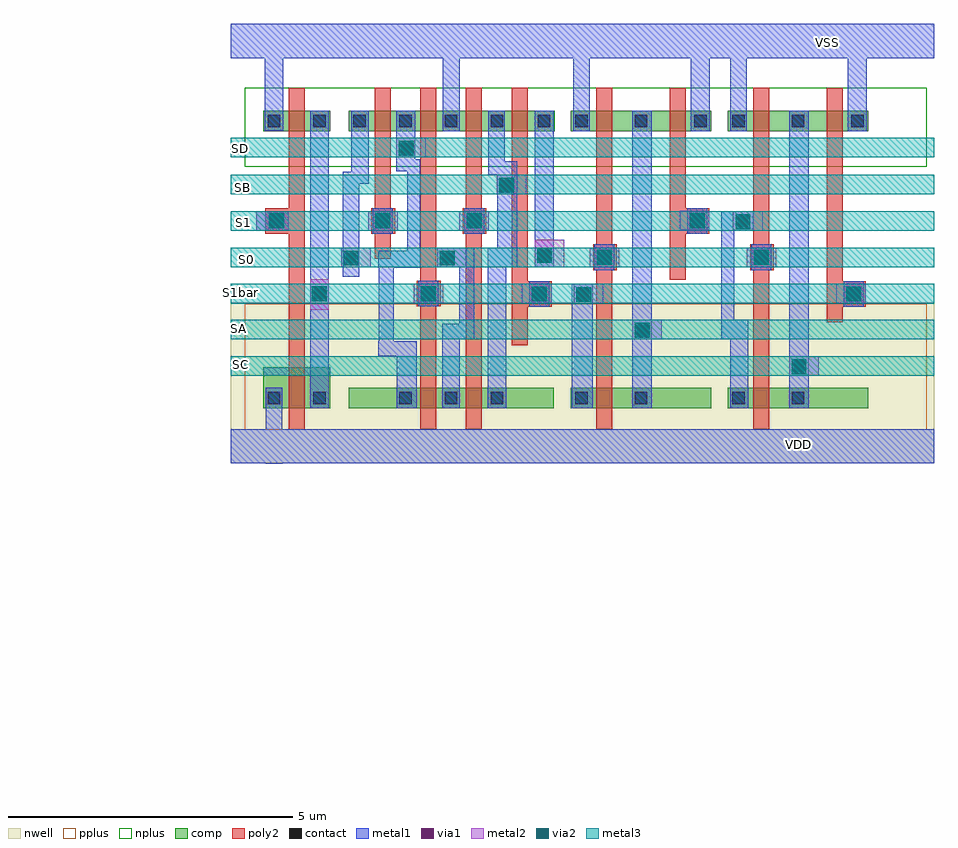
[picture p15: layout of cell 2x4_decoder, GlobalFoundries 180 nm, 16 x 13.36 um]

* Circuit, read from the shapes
.subckt 2x4_decoder S0 S1 S1bar SA SB SC SD VDD VSS
XM1 S1bar S1 VSS VSUBS nfet_03v3 w=0.36u l=0.28u
XM2 SD S1 S0 VSUBS nfet_03v3 w=0.36u l=0.28u
XM3 VSS S1bar SD VSUBS nfet_03v3 w=0.36u l=0.28u
XM4 SB S1 VSS VSUBS nfet_03v3 w=0.36u l=0.28u
XM5 S0 S1bar SB VSUBS nfet_03v3 w=0.36u l=0.28u
XM6 SA S0 VSS VSUBS nfet_03v3 w=0.36u l=0.28u
XM7 VSS S1 SA VSUBS nfet_03v3 w=0.36u l=0.28u
XM8 SC S0 VSS VSUBS nfet_03v3 w=0.36u l=0.28u
XM9 VSS S1bar SC VSUBS nfet_03v3 w=0.36u l=0.28u
XM10 S1bar S1 VDD n1 pfet_03v3 w=0.72u l=0.28u
XM11 S0 S1bar SD n1 pfet_03v3 w=0.36u l=0.28u
XM12 SB S1 S0 n1 pfet_03v3 w=0.36u l=0.28u
XM13 SA S0 S1bar n1 pfet_03v3 w=0.36u l=0.28u
XM14 SC S0 S1 n1 pfet_03v3 w=0.36u l=0.28u
.ends

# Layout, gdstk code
import gdstk
lib = gdstk.Library(unit=1e-6, precision=5e-09)
def R(c, l, rs):  # rectangles x0, y0, x1, y1
    for r in rs: c.add(gdstk.rectangle(r[:2], r[2:], *l))
def A(c, l, x, y, w, h, nx, ny, dx, dy):  # array of equal rectangles
    R(c, l, [(x+i*dx, y+j*dy, x+i*dx+w, y+j*dy+h) for i in range(nx) for j in range(ny)])
def P(c, l, *ps):  # polygons
    for p in ps: c.add(gdstk.Polygon(p, *l))
nwell = (21, 0)
comp = (22, 0)
poly2 = (30, 0)
pplus = (31, 0)
nplus = (32, 0)
contact = (33, 0)
metal1 = (34, 0)
via1 = (35, 0)
metal2 = (36, 0)
via2 = (38, 0)
metal3 = (42, 0)

c_2x4_decoder = lib.new_cell('2x4_decoder')
R(c_2x4_decoder, nwell, [(-5.64,0.975,6.72,3.805)])
R(c_2x4_decoder, comp, [(-5.075,1.945,-3.895,2.665), (-3.57,1.945,0.03,2.305), (0.335,1.945,2.805,2.305), (3.095,1.945,5.565,2.305), (-5.075,6.815,-3.895,7.175), (-3.57,6.815,0.055,7.175), (0.335,6.815,2.805,7.175), (3.095,6.815,5.565,7.175)])
R(c_2x4_decoder, poly2, [(-4.625,1.565,-4.345,7.57), (-2.31,1.575,-2.03,7.575), (-1.51,1.575,-1.23,7.575), (0.785,1.575,1.065,7.575), (3.545,1.575,3.825,7.575), (-0.7,3.055,-0.42,7.575), (4.835,3.455,5.115,7.57), (-0.42,3.73,-0.005,4.18), (5.105,3.73,5.52,4.18), (-2.37,3.735,-1.955,4.185), (2.075,4.205,2.355,7.57), (0.725,4.375,1.14,4.825), (3.485,4.375,3.9,4.825), (-3.11,4.575,-2.83,7.575), (-5.04,5.015,-4.625,5.465), (-3.17,5.015,-2.755,5.465), (-1.565,5.015,-1.15,5.465), (2.355,5.015,2.77,5.465)])
R(c_2x4_decoder, pplus, [(-5.395,1.57,6.59,3.78)])
R(c_2x4_decoder, nplus, [(-5.395,6.195,6.59,7.575)])
A(c_2x4_decoder, contact, 0.415, 6.885, 0.22, 0.22, 3, 1, 1.045, 0)
A(c_2x4_decoder, contact, 3.175, 6.885, 0.22, 0.22, 3, 1, 1.045, 0)
R(c_2x4_decoder, contact, [(-4.995,2.015,-4.775,2.235), (-4.195,2.015,-3.975,2.235), (-2.68,2.015,-2.46,2.235), (-1.88,2.015,-1.66,2.235), (-1.07,2.015,-0.85,2.235), (0.415,2.015,0.635,2.235), (1.46,2.015,1.68,2.235), (3.175,2.015,3.395,2.235), (4.22,2.015,4.44,2.235), (-0.33,3.845,-0.11,4.065), (5.195,3.845,5.415,4.065), (-2.28,3.85,-2.06,4.07), (0.815,4.49,1.035,4.71), (3.575,4.49,3.795,4.71), (-4.95,5.13,-4.73,5.35), (-3.08,5.13,-2.86,5.35), (-3.08,5.13,-2.86,5.35), (-1.475,5.13,-1.255,5.35), (2.445,5.13,2.665,5.35), (-4.995,6.885,-4.775,7.105), (-4.195,6.885,-3.975,7.105), (-3.49,6.885,-3.27,7.105), (-2.68,6.885,-2.46,7.105), (-1.88,6.885,-1.66,7.105), (-1.075,6.885,-0.855,7.105), (-0.245,6.885,-0.025,7.105)])
R(c_2x4_decoder, metal1, [(-5.03,0.97,-4.74,2.31), (-5.64,0.975,6.72,1.575), (-4.25,1.945,-3.92,7.175), (-2.73,1.945,-2.375,3.125), (-1.93,1.945,-1.615,3.155), (-1.125,1.945,-0.805,4.77), (0.35,1.945,0.72,4.13), (1.41,1.945,1.76,7.175), (3.14,1.945,3.455,3.5), (4.17,1.945,4.52,7.175), (-3.05,2.86,-2.375,3.125), (-3.045,2.86,-2.78,4.715), (-1.93,3.155,-1.36,3.43), (-1.63,3.155,-1.36,4.77), (2.98,3.16,3.21,5.41), (-0.395,3.73,-0.045,4.18), (5.13,3.73,5.48,4.18), (-2.345,3.735,-1.995,4.185), (-3.675,4.255,-3.385,6.105), (0.75,4.375,1.1,4.825), (3.51,4.375,3.86,4.825), (-3.05,4.415,-2.31,4.715), (-2.54,4.415,-2.31,6.32), (-2.015,4.425,-1.36,4.77), (-0.955,4.425,-0.605,6.285), (-0.3,4.425,0.03,7.175), (-3.145,5.015,-2.795,5.465), (-1.54,5.015,-1.19,5.465), (2.38,5.015,2.73,5.465), (-5.195,5.065,-4.625,5.41), (2.98,5.065,3.545,5.41), (-3.66,5.89,-3.22,6.105), (-1.115,6.05,-0.705,6.285), (-1.115,6.05,-0.825,7.175), (-3.525,6.105,-3.22,7.175), (-2.735,6.11,-2.31,6.32), (-2.735,6.11,-2.4,7.175), (-1.92,6.815,-1.615,8.1), (0.375,6.815,0.67,8.1), (2.445,6.815,2.775,8.1), (3.135,6.815,3.43,8.1), (5.205,6.815,5.535,8.1), (-5.045,6.82,-4.725,8.1), (-5.64,8.1,6.72,8.7)])
P(c_2x4_decoder, metal1, [(-9.28,-4.66),(-9.28,-4.66),(-9.28,-4.66),(-9.28,-4.66)])
R(c_2x4_decoder, via1, [(4.215,2.545,4.475,2.805), (1.46,3.185,1.72,3.445), (0.43,3.815,0.69,4.075), (-0.35,3.825,-0.09,4.085), (5.175,3.825,5.435,4.085), (-4.22,3.83,-3.96,4.09), (-2.3,3.83,-2.04,4.09), (-3.66,4.455,-3.4,4.715), (-1.97,4.455,-1.71,4.715), (0.795,4.47,1.055,4.73), (3.555,4.47,3.815,4.73), (-0.26,4.5,0,4.76), (3.23,5.095,3.49,5.355), (-4.97,5.11,-4.71,5.37), (-3.1,5.11,-2.84,5.37), (-3.1,5.11,-2.84,5.37), (-1.495,5.11,-1.235,5.37), (2.425,5.11,2.685,5.37), (-0.925,5.735,-0.665,5.995), (-0.925,5.735,-0.665,5.995), (-2.69,6.385,-2.43,6.645), (-2.69,6.385,-2.43,6.645)])
R(c_2x4_decoder, metal2, [(4.17,2.515,4.69,2.86), (1.415,3.155,1.935,3.5), (-4.25,3.675,-3.92,4.215), (-2.43,3.785,-1.91,4.13), (-0.525,3.785,-0.005,4.13), (0.385,3.785,0.905,4.13), (5,3.785,5.52,4.13), (-3.705,4.425,-3.185,4.77), (-2.015,4.425,-1.495,4.77), (-0.3,4.425,0.22,4.905), (0.665,4.425,1.185,4.77), (3.425,4.425,3.945,4.77), (-5.195,5.065,-4.625,5.41), (-3.23,5.065,-2.71,5.41), (-1.625,5.065,-1.105,5.41), (3.185,5.065,3.705,5.41), (2.25,5.07,2.77,5.415), (-0.97,5.705,-0.45,6.05), (-0.97,5.705,-0.45,6.05), (-2.735,6.355,-2.215,6.7), (-2.735,6.355,-2.215,6.7)])
R(c_2x4_decoder, via2, [(4.215,2.545,4.475,2.805), (1.46,3.185,1.72,3.445), (0.43,3.815,0.69,4.075), (-0.35,3.825,-0.09,4.085), (5.175,3.825,5.435,4.085), (-4.22,3.83,-3.96,4.09), (-2.3,3.83,-2.04,4.09), (-3.66,4.455,-3.4,4.715), (-1.97,4.455,-1.71,4.715), (0.795,4.47,1.055,4.73), (3.555,4.47,3.815,4.73), (-0.26,4.5,0,4.76), (3.23,5.095,3.49,5.355), (-4.97,5.11,-4.71,5.37), (-3.1,5.11,-2.84,5.37), (-3.1,5.11,-2.84,5.37), (-1.495,5.11,-1.235,5.37), (2.425,5.11,2.685,5.37), (-0.925,5.735,-0.665,5.995), (-0.925,5.735,-0.665,5.995), (-2.69,6.385,-2.43,6.645), (-2.69,6.385,-2.43,6.645)])
A(c_2x4_decoder, metal3, -5.64, 3.785, 12.36, 0.345, 1, 4, 0, 0.64)
R(c_2x4_decoder, metal3, [(-5.64,2.515,6.72,2.86), (-5.64,3.155,6.72,3.5), (-5.64,6.355,6.72,6.7)])
c_2x4_decoder.add(gdstk.Label('SD', (-5.47,6.505), layer=42, texttype=10))
c_2x4_decoder.add(gdstk.Label('SB', (-5.435,5.83), layer=42, texttype=10))
c_2x4_decoder.add(gdstk.Label('S1', (-5.42,5.21), layer=42, texttype=10))
c_2x4_decoder.add(gdstk.Label('S0', (-5.375,4.56), layer=42, texttype=10))
c_2x4_decoder.add(gdstk.Label('S1bar', (-5.465,3.98), layer=42, texttype=10))
c_2x4_decoder.add(gdstk.Label('SA', (-5.5,3.35), layer=42, texttype=10))
c_2x4_decoder.add(gdstk.Label('SC', (-5.465,2.71), layer=42, texttype=10))
c_2x4_decoder.add(gdstk.Label('VSS', (4.855,8.375), layer=34, texttype=10))
c_2x4_decoder.add(gdstk.Label('VDD', (4.335,1.3), layer=34, texttype=10))

lib.write_gds('2x4_decoder.gds')
